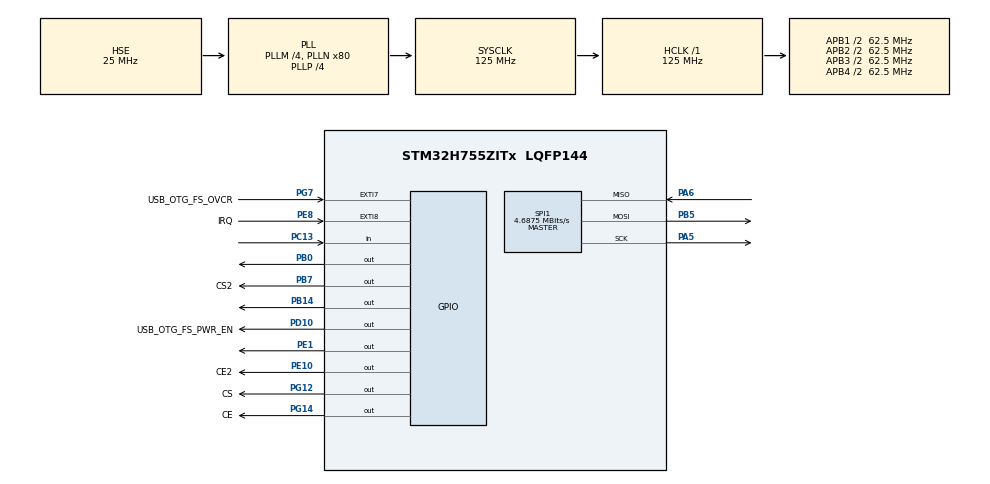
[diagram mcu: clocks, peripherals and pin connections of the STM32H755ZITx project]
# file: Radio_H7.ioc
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CortexM4.IPs=FATFS_M4\:I,FREERTOS_M4\:I,IWDG2\:I,RCC,WWDG2\:I,DMA,BDMA,MDMA,NVIC2\:I,ETH,USART3,DEBUG,PDM2PCM_M4\:I,PWR,RESMGR_UTILITY,SYS_M4\:I,USB_DEVICE_M4\:I,USB_HOST_M4\:I,CORTEX_M4\:I,GPIO,OPENAMP_M4\:I,VREFBUF,NUCLEO-H755ZI-Q
CortexM7.IPs=FATFS_M7\:I,FREERTOS_M7\:I,IWDG1\:I,RCC\:I,WWDG1\:I,DMA\:I,BDMA\:I,MDMA\:I,NVIC1\:I,ETH\:I,USART3\:I,USB_OTG_FS\:I,SYS\:I,CORTEX_M7\:I,DEBUG\:I,PDM2PCM_M7\:I,PWR\:I,RESMGR_UTILITY\:I,USB_DEVICE_M7\:I,USB_HOST_M7\:I,GPIO\:I,OPENAMP_M7\:I,VREFBUF\:I,NUCLEO-H755ZI-Q\:I,MEMORYMAP\:I,SPI1\:I
CortexM7.Pins=PE8,PE10,PG12,PG14,PB7
Dma.Request0=SPI1_RX
Dma.Request1=SPI1_TX
Dma.SPI1_RX.0.Direction=DMA_PERIPH_TO_MEMORY
Dma.SPI1_RX.0.EventEnable=DISABLE
Dma.SPI1_RX.0.FIFOMode=DMA_FIFOMODE_DISABLE
Dma.SPI1_RX.0.Instance=DMA1_Stream0
Dma.SPI1_RX.0.MemDataAlignment=DMA_MDATAALIGN_BYTE
Dma.SPI1_RX.0.MemInc=DMA_MINC_ENABLE
Dma.SPI1_RX.0.Mode=DMA_NORMAL
Dma.SPI1_RX.0.PeriphDataAlignment=DMA_PDATAALIGN_BYTE
Dma.SPI1_RX.0.PeriphInc=DMA_PINC_DISABLE
Dma.SPI1_RX.0.Polarity=HAL_DMAMUX_REQ_GEN_RISING
Dma.SPI1_RX.0.Priority=DMA_PRIORITY_HIGH
Dma.SPI1_RX.0.RequestNumber=1
Dma.SPI1_RX.0.SignalID=NONE
Dma.SPI1_RX.0.SyncEnable=DISABLE
Dma.SPI1_RX.0.SyncPolarity=HAL_DMAMUX_SYNC_NO_EVENT
Dma.SPI1_RX.0.SyncRequestNumber=1
Dma.SPI1_RX.0.SyncSignalID=NONE
Dma.SPI1_TX.1.Direction=DMA_MEMORY_TO_PERIPH
Dma.SPI1_TX.1.EventEnable=DISABLE
Dma.SPI1_TX.1.FIFOMode=DMA_FIFOMODE_DISABLE
Dma.SPI1_TX.1.Instance=DMA1_Stream1
Dma.SPI1_TX.1.MemDataAlignment=DMA_MDATAALIGN_BYTE
Dma.SPI1_TX.1.MemInc=DMA_MINC_ENABLE
Dma.SPI1_TX.1.Mode=DMA_NORMAL
Dma.SPI1_TX.1.PeriphDataAlignment=DMA_PDATAALIGN_BYTE
Dma.SPI1_TX.1.PeriphInc=DMA_PINC_DISABLE
Dma.SPI1_TX.1.Polarity=HAL_DMAMUX_REQ_GEN_RISING
Dma.SPI1_TX.1.Priority=DMA_PRIORITY_HIGH
Dma.SPI1_TX.1.RequestNumber=1
Dma.SPI1_TX.1.SignalID=NONE
Dma.SPI1_TX.1.SyncEnable=DISABLE
Dma.SPI1_TX.1.SyncPolarity=HAL_DMAMUX_SYNC_NO_EVENT
Dma.SPI1_TX.1.SyncRequestNumber=1
Dma.SPI1_TX.1.SyncSignalID=NONE
Mcu.Family=STM32H7
Mcu.Name=STM32H755ZITx
Mcu.Package=LQFP144
NUCLEO-H755ZI-Q.BUTTON=1
NUCLEO-H755ZI-Q.LD1=true
NUCLEO-H755ZI-Q.LD2=true
NUCLEO-H755ZI-Q.LD3=true
NUCLEO-H755ZI-Q.VCP=true
NVIC1.DMA1_Stream0_IRQn=true\:0\:0\:false\:false\:true\:false\:true\:true
NVIC1.DMA1_Stream1_IRQn=true\:0\:0\:false\:false\:true\:false\:true\:true
NVIC1.EXTI15_10_IRQn=true\:1\:0\:true\:false\:true\:false\:true\:true
NVIC1.EXTI9_5_IRQn=true\:1\:0\:true\:false\:true\:true\:true\:true
NVIC1.PriorityGroup=NVIC_PRIORITYGROUP_4
NVIC1.SPI1_IRQn=true\:1\:0\:true\:false\:true\:false\:true\:true
NVIC2.PriorityGroup=NVIC_PRIORITYGROUP_4
PA11.PinAttribute=CortexM7
PA11.Signal=USB_OTG_FS_DM
PA12.PinAttribute=CortexM7
PA12.Signal=USB_OTG_FS_DP
PA5.Mode=Full_Duplex_Master
PA5.PinAttribute=CortexM7
PA5.Signal=SPI1_SCK
PA6.Mode=Full_Duplex_Master
PA6.PinAttribute=CortexM7
PA6.Signal=SPI1_MISO
PA8.PinAttribute=CortexM7
PA8.Signal=USB_OTG_FS_SOF
PA9.PinAttribute=CortexM7
PA9.Signal=USB_OTG_FS_VBUS
PB0.Signal=GPIO_Output
PB13.Signal=S_CKIN1DFSDM1
PB14.Signal=GPIO_Output
PB5.Mode=Full_Duplex_Master
PB5.PinAttribute=CortexM7
PB5.Signal=SPI1_MOSI
PB7.GPIO_Label=CS2
PB7.GPIO_PuPd=GPIO_PULLUP
PB7.PinAttribute=CortexM7
PB7.PinState=GPIO_PIN_SET
PB7.Signal=GPIO_Output
PC13.Signal=GPIO_Input
PC14-OSC32_IN\ (OSC32_IN).PinAttribute=Free
PC14-OSC32_IN\ (OSC32_IN).Signal=RCC_OSC32_IN
PC15-OSC32_OUT\ (OSC32_OUT).PinAttribute=Free
PC15-OSC32_OUT\ (OSC32_OUT).Signal=RCC_OSC32_OUT
PD10.GPIO_Label=USB_OTG_FS_PWR_EN
PD10.PinAttribute=Free
PD10.Signal=GPIO_Output
PD8.Signal=USART3_TX
PD9.Signal=USART3_RX
PE1.Signal=GPIO_Output
PE10.GPIO_Label=CE2
PE10.GPIO_PuPd=GPIO_PULLDOWN
PE10.PinAttribute=CortexM7
PE10.PinState=GPIO_PIN_RESET
PE10.Signal=GPIO_Output
PE8.GPIO_Label=IRQ
PE8.GPIO_ModeDefaultEXTI=GPIO_MODE_IT_RISING
PE8.GPIO_PuPd=GPIO_PULLUP
PE8.PinAttribute=CortexM7
PE8.Signal=GPXTI8
PG12.GPIO_Label=CS
PG12.GPIO_PuPd=GPIO_PULLUP
PG12.PinAttribute=CortexM7
PG12.PinState=GPIO_PIN_SET
PG12.Signal=GPIO_Output
PG14.GPIO_Label=CE
PG14.GPIO_PuPd=GPIO_PULLDOWN
PG14.PinAttribute=CortexM7
PG14.PinState=GPIO_PIN_RESET
PG14.Signal=GPIO_Output
PG7.GPIO_Label=USB_OTG_FS_OVCR
PG7.PinAttribute=Free
PG7.Signal=GPXTI7
PH0-OSC_IN\ (PH0).Mode=HSE-External-Oscillator
PH0-OSC_IN\ (PH0).PinAttribute=Free
PH0-OSC_IN\ (PH0).Signal=RCC_OSC_IN
PH1-OSC_OUT\ (PH1).Mode=HSE-External-Oscillator
PH1-OSC_OUT\ (PH1).PinAttribute=Free
PH1-OSC_OUT\ (PH1).Signal=RCC_OSC_OUT
ProjectManager.HeapSize=M4-0x200,M7-0x200
ProjectManager.StackSize=M4-0x400,M7-0x400
ProjectManager.TargetToolchain=STM32CubeIDE
RCC.ADCFreq_Value=75000000
RCC.APB1Freq_Value=62500000
RCC.APB2Freq_Value=62500000
RCC.APB3Freq_Value=62500000
RCC.APB4Freq_Value=62500000
RCC.CortexFreq_Value=125000000
RCC.D1PPRE=RCC_APB3_DIV2
RCC.D2PPRE1=RCC_APB1_DIV2
RCC.D2PPRE2=RCC_APB2_DIV2
RCC.D3PPRE=RCC_APB4_DIV2
RCC.DIVM1=4
RCC.DIVM2=20
RCC.DIVN1=80
RCC.DIVN2=120
RCC.DIVP1=4
RCC.DIVQ1=4
RCC.HCLKFreq_Value=125000000
RCC.PLL2FRACN=0
RCC.PLL3FRACN=0
RCC.PLLFRACN=0
RCC.PLLSourceVirtual=RCC_PLLSOURCE_HSE
RCC.SPI123CLockSelection=RCC_SPI123CLKSOURCE_PLL2
RCC.SYSCLKFreq_VALUE=125000000
RCC.SYSCLKSource=RCC_SYSCLKSOURCE_PLLCLK
RCC.SupplySource=PWR_DIRECT_SMPS_SUPPLY
RCC.USBFreq_Value=125000000
SH.S_CKIN1DFSDM1.0=DFSDM1_CKIN1
SPI1.BaudRatePrescaler=SPI_BAUDRATEPRESCALER_16
SPI1.CalculateBaudRate=4.6875 MBits/s
SPI1.DataSize=SPI_DATASIZE_8BIT
SPI1.Direction=SPI_DIRECTION_2LINES
SPI1.Mode=SPI_MODE_MASTER
SPI1.VirtualType=VM_MASTER
VP_MEMORYMAP_VS_MEMORYMAP.Mode=CurAppReg
VP_NUCLEO-H755ZI-Q_VS_BSP_COMMON.Mode=COMMON
VP_SYS_M4_VS_Systick.Mode=SysTick
board=NUCLEO-H755ZI-Q

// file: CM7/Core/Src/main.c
/* USER CODE BEGIN Header */
/**
  ******************************************************************************
  * @file           : main.c
  * @brief          : Main program body
  ******************************************************************************
  * @attention
  *
  * Copyright (c) 2025 STMicroelectronics.
  * All rights reserved.
  *
  * This software is licensed under terms that can be found in the LICENSE file
  * in the root directory of this software component.
  * If no LICENSE file comes with this software, it is provided AS-IS.
  *
  ******************************************************************************
  */
/* USER CODE END Header */
#include "main.h"

/* USER CODE BEGIN Includes */
#include "nrf.h"
/* USER CODE END Includes */

/* USER CODE BEGIN PD */

#ifndef HSEM_ID_0
#define HSEM_ID_0 (0U) /* HW semaphore 0*/
#endif

/* USER CODE END PD */

COM_InitTypeDef BspCOMInit;

SPI_HandleTypeDef hspi1;
DMA_HandleTypeDef hdma_spi1_rx;
DMA_HandleTypeDef hdma_spi1_tx;

void SystemClock_Config(void);
static void MX_GPIO_Init(void);
static void MX_DMA_Init(void);
static void MX_SPI1_Init(void);

/* USER CODE BEGIN 0 */
NRF24 Receptor;
NRF24 Transmissor;
uint8_t Address[] = {1,2,3,4,5};
uint8_t txData[6]={111,4,4,6,1,112};
uint8_t rxData[6] ={0,0,0,0,0,0};
/* USER CODE END 0 */

int main(void)
{

/* USER CODE BEGIN Boot_Mode_Sequence_0 */
  int32_t timeout;
/* USER CODE END Boot_Mode_Sequence_0 */

/* USER CODE BEGIN Boot_Mode_Sequence_1 */
  /* Wait until CPU2 boots and enters in stop mode or timeout*/
  timeout = 0xFFFF;
  while((__HAL_RCC_GET_FLAG(RCC_FLAG_D2CKRDY) != RESET) && (timeout-- > 0));
  if ( timeout < 0 )
  {
  Error_Handler();
  }
/* USER CODE END Boot_Mode_Sequence_1 */
  /* MCU Configuration--------------------------------------------------------*/

  /* Reset of all peripherals, Initializes the Flash interface and the Systick. */
  HAL_Init();

  /* Configure the system clock */
  SystemClock_Config();
/* USER CODE BEGIN Boot_Mode_Sequence_2 */
/* When system initialization is finished, Cortex-M7 will release Cortex-M4 by means of
HSEM notification */
/*HW semaphore Clock enable*/
__HAL_RCC_HSEM_CLK_ENABLE();
/*Take HSEM */
HAL_HSEM_FastTake(HSEM_ID_0);
/*Release HSEM in order to notify the CPU2(CM4)*/
HAL_HSEM_Release(HSEM_ID_0,0);
/* wait until CPU2 wakes up from stop mode */
timeout = 0xFFFF;
while((__HAL_RCC_GET_FLAG(RCC_FLAG_D2CKRDY) == RESET) && (timeout-- > 0));
if ( timeout < 0 )
{
Error_Handler();
}
/* USER CODE END Boot_Mode_Sequence_2 */

  /* Initialize all configured peripherals */
  MX_GPIO_Init();
  MX_DMA_Init();
  MX_SPI1_Init();

  /* Initialize leds */
  BSP_LED_Init(LED_GREEN);
  BSP_LED_Init(LED_YELLOW);
  BSP_LED_Init(LED_RED);

  /* Initialize USER push-button, will be used to trigger an interrupt each time it's pressed.*/
  BSP_PB_Init(BUTTON_USER, BUTTON_MODE_EXTI);

  /* Initialize COM1 port (115200, 8 bits (7-bit data + 1 stop bit), no parity */
  BspCOMInit.BaudRate   = 115200;
  BspCOMInit.WordLength = COM_WORDLENGTH_8B;
  BspCOMInit.StopBits   = COM_STOPBITS_1;
  BspCOMInit.Parity     = COM_PARITY_NONE;
  BspCOMInit.HwFlowCtl  = COM_HWCONTROL_NONE;
  if (BSP_COM_Init(COM1, &BspCOMInit) != BSP_ERROR_NONE)
  {
    Error_Handler();
  }

  /* Infinite loop */
  /* USER CODE BEGIN WHILE */

  	Set_NRF24(&Transmissor, &hspi1, CS2_GPIO_Port, CS2_Pin, CE2_GPIO_Port, CE2_Pin);
    NRF24_Config(&Transmissor);
    Tx_mode(&Transmissor, Address);
    NRF24_WriteRegisterByte(&Transmissor, NRF_REG_RF_CH, 0x02);

  	Set_NRF24(&Receptor, &hspi1, CS_GPIO_Port, CS_Pin, CE_GPIO_Port, CE_Pin);
    NRF24_Config(&Receptor);
    Rx_mode(&Receptor, Address, sizeof(rxData));
    NRF24_WriteRegisterByte(&Receptor, NRF_REG_RF_CH, 0x02);

    NRF_Status ret = NRF_ERROR;
    NRF_Status ret_trans = NRF_ERROR;

  uint8_t config_rx = 0;
  uint8_t EN_AA = 0;
  uint8_t EN_RXADDR = 0;
  uint8_t setupAW = 0;
  uint8_t RF_CH = 0;
  uint8_t RF_Setup = 0;
  uint8_t CD = 0;
  while (1)
  {

	  config_rx = NRF24_ReadRegisterByte(&Transmissor, NRF_REG_CONFIG);
	  EN_AA = NRF24_ReadRegisterByte(&Transmissor, NRF_REG_EN_AA);
	  EN_RXADDR = NRF24_ReadRegisterByte(&Transmissor, NRF_REG_EN_RXADDR);
	  setupAW = NRF24_ReadRegisterByte(&Transmissor, NRF_REG_SETUP_AW);
	  RF_CH = NRF24_ReadRegisterByte(&Transmissor, NRF_REG_RF_CH);
	  RF_Setup = NRF24_ReadRegisterByte(&Transmissor, NRF_REG_RF_SETUP);

	  ret_trans = NRF24_TransmitAndWait(&Transmissor, txData, sizeof(txData));
	  //if(ret_trans == NRF_OK){
		 // HAL_GPIO_TogglePin(LED2_GPIO_PORT, LED2_PIN);
	  //} else {
		  //HAL_GPIO_TogglePin(LED1_GPIO_PORT, LED1_PIN);
	  //}
	  //HAL_Delay(50);

	  /*
	  ret = ReceiveData(&Receptor, &rxData, sizeof(rxData));
	  if(ret == NRF_OK){
		  HAL_GPIO_TogglePin(LED1_GPIO_PORT, LED1_PIN);
	  }
	  HAL_GPIO_TogglePin(LED2_GPIO_PORT, LED2_PIN);
	*/
	  HAL_Delay(500);

    /* USER CODE END WHILE */

  }
}

void SystemClock_Config(void)
{
  RCC_OscInitTypeDef RCC_OscInitStruct = {0};
  RCC_ClkInitTypeDef RCC_ClkInitStruct = {0};

  /** Supply configuration update enable
  */
  HAL_PWREx_ConfigSupply(PWR_DIRECT_SMPS_SUPPLY);

  /** Configure the main internal regulator output voltage
  */
  __HAL_PWR_VOLTAGESCALING_CONFIG(PWR_REGULATOR_VOLTAGE_SCALE3);

  while(!__HAL_PWR_GET_FLAG(PWR_FLAG_VOSRDY)) {}

  /** Initializes the RCC Oscillators according to the specified parameters
  * in the RCC_OscInitTypeDef structure.
  */
  RCC_OscInitStruct.OscillatorType = RCC_OSCILLATORTYPE_HSE;
  RCC_OscInitStruct.HSEState = RCC_HSE_ON;
  RCC_OscInitStruct.PLL.PLLState = RCC_PLL_ON;
  RCC_OscInitStruct.PLL.PLLSource = RCC_PLLSOURCE_HSE;
  RCC_OscInitStruct.PLL.PLLM = 4;
  RCC_OscInitStruct.PLL.PLLN = 80;
  RCC_OscInitStruct.PLL.PLLP = 4;
  RCC_OscInitStruct.PLL.PLLQ = 4;
  RCC_OscInitStruct.PLL.PLLR = 2;
  RCC_OscInitStruct.PLL.PLLRGE = RCC_PLL1VCIRANGE_2;
  RCC_OscInitStruct.PLL.PLLVCOSEL = RCC_PLL1VCOWIDE;
  RCC_OscInitStruct.PLL.PLLFRACN = 0;
  if (HAL_RCC_OscConfig(&RCC_OscInitStruct) != HAL_OK)
  {
    Error_Handler();
  }

  /** Initializes the CPU, AHB and APB buses clocks
  */
  RCC_ClkInitStruct.ClockType = RCC_CLOCKTYPE_HCLK|RCC_CLOCKTYPE_SYSCLK
                              |RCC_CLOCKTYPE_PCLK1|RCC_CLOCKTYPE_PCLK2
                              |RCC_CLOCKTYPE_D3PCLK1|RCC_CLOCKTYPE_D1PCLK1;
  RCC_ClkInitStruct.SYSCLKSource = RCC_SYSCLKSOURCE_PLLCLK;
  RCC_ClkInitStruct.SYSCLKDivider = RCC_SYSCLK_DIV1;
  RCC_ClkInitStruct.AHBCLKDivider = RCC_HCLK_DIV1;
  RCC_ClkInitStruct.APB3CLKDivider = RCC_APB3_DIV2;
  RCC_ClkInitStruct.APB1CLKDivider = RCC_APB1_DIV2;
  RCC_ClkInitStruct.APB2CLKDivider = RCC_APB2_DIV2;
  RCC_ClkInitStruct.APB4CLKDivider = RCC_APB4_DIV2;

  if (HAL_RCC_ClockConfig(&RCC_ClkInitStruct, FLASH_LATENCY_2) != HAL_OK)
  {
    Error_Handler();
  }
}

static void MX_SPI1_Init(void)
{

  /* SPI1 parameter configuration*/
  hspi1.Instance = SPI1;
  hspi1.Init.Mode = SPI_MODE_MASTER;
  hspi1.Init.Direction = SPI_DIRECTION_2LINES;
  hspi1.Init.DataSize = SPI_DATASIZE_8BIT;
  hspi1.Init.CLKPolarity = SPI_POLARITY_LOW;
  hspi1.Init.CLKPhase = SPI_PHASE_1EDGE;
  hspi1.Init.NSS = SPI_NSS_SOFT;
  hspi1.Init.BaudRatePrescaler = SPI_BAUDRATEPRESCALER_16;
  hspi1.Init.FirstBit = SPI_FIRSTBIT_MSB;
  hspi1.Init.TIMode = SPI_TIMODE_DISABLE;
  hspi1.Init.CRCCalculation = SPI_CRCCALCULATION_DISABLE;
  hspi1.Init.CRCPolynomial = 0x0;
  hspi1.Init.NSSPMode = SPI_NSS_PULSE_ENABLE;
  hspi1.Init.NSSPolarity = SPI_NSS_POLARITY_LOW;
  hspi1.Init.FifoThreshold = SPI_FIFO_THRESHOLD_01DATA;
  hspi1.Init.TxCRCInitializationPattern = SPI_CRC_INITIALIZATION_ALL_ZERO_PATTERN;
  hspi1.Init.RxCRCInitializationPattern = SPI_CRC_INITIALIZATION_ALL_ZERO_PATTERN;
  hspi1.Init.MasterSSIdleness = SPI_MASTER_SS_IDLENESS_00CYCLE;
  hspi1.Init.MasterInterDataIdleness = SPI_MASTER_INTERDATA_IDLENESS_00CYCLE;
  hspi1.Init.MasterReceiverAutoSusp = SPI_MASTER_RX_AUTOSUSP_DISABLE;
  hspi1.Init.MasterKeepIOState = SPI_MASTER_KEEP_IO_STATE_DISABLE;
  hspi1.Init.IOSwap = SPI_IO_SWAP_DISABLE;
  if (HAL_SPI_Init(&hspi1) != HAL_OK)
  {
    Error_Handler();
  }

}

static void MX_DMA_Init(void)
{

  /* DMA controller clock enable */
  __HAL_RCC_DMA1_CLK_ENABLE();

  /* DMA interrupt init */
  /* DMA1_Stream0_IRQn interrupt configuration */
  HAL_NVIC_SetPriority(DMA1_Stream0_IRQn, 0, 0);
  HAL_NVIC_EnableIRQ(DMA1_Stream0_IRQn);
  /* DMA1_Stream1_IRQn interrupt configuration */
  HAL_NVIC_SetPriority(DMA1_Stream1_IRQn, 0, 0);
  HAL_NVIC_EnableIRQ(DMA1_Stream1_IRQn);

}

static void MX_GPIO_Init(void)
{
  GPIO_InitTypeDef GPIO_InitStruct = {0};

  /* GPIO Ports Clock Enable */
  __HAL_RCC_GPIOA_CLK_ENABLE();
  __HAL_RCC_GPIOE_CLK_ENABLE();
  __HAL_RCC_GPIOG_CLK_ENABLE();
  __HAL_RCC_GPIOB_CLK_ENABLE();

  /*Configure GPIO pin Output Level */
  HAL_GPIO_WritePin(CE2_GPIO_Port, CE2_Pin, GPIO_PIN_RESET);

  /*Configure GPIO pin Output Level */
  HAL_GPIO_WritePin(CS_GPIO_Port, CS_Pin, GPIO_PIN_SET);

  /*Configure GPIO pin Output Level */
  HAL_GPIO_WritePin(CE_GPIO_Port, CE_Pin, GPIO_PIN_RESET);

  /*Configure GPIO pin Output Level */
  HAL_GPIO_WritePin(CS2_GPIO_Port, CS2_Pin, GPIO_PIN_SET);

  /*Configure GPIO pin : IRQ_Pin */
  GPIO_InitStruct.Pin = IRQ_Pin;
  GPIO_InitStruct.Mode = GPIO_MODE_IT_RISING;
  GPIO_InitStruct.Pull = GPIO_PULLUP;
  HAL_GPIO_Init(IRQ_GPIO_Port, &GPIO_InitStruct);

  /*Configure GPIO pin : CE2_Pin */
  GPIO_InitStruct.Pin = CE2_Pin;
  GPIO_InitStruct.Mode = GPIO_MODE_OUTPUT_PP;
  GPIO_InitStruct.Pull = GPIO_PULLDOWN;
  GPIO_InitStruct.Speed = GPIO_SPEED_FREQ_LOW;
  HAL_GPIO_Init(CE2_GPIO_Port, &GPIO_InitStruct);

  /*Configure GPIO pins : PA8 PA11 PA12 */
  GPIO_InitStruct.Pin = GPIO_PIN_8|GPIO_PIN_11|GPIO_PIN_12;
  GPIO_InitStruct.Mode = GPIO_MODE_AF_PP;
  GPIO_InitStruct.Pull = GPIO_NOPULL;
  GPIO_InitStruct.Speed = GPIO_SPEED_FREQ_LOW;
  GPIO_InitStruct.Alternate = GPIO_AF10_OTG1_FS;
  HAL_GPIO_Init(GPIOA, &GPIO_InitStruct);

  /*Configure GPIO pin : CS_Pin */
  GPIO_InitStruct.Pin = CS_Pin;
  GPIO_InitStruct.Mode = GPIO_MODE_OUTPUT_PP;
  GPIO_InitStruct.Pull = GPIO_PULLUP;
  GPIO_InitStruct.Speed = GPIO_SPEED_FREQ_LOW;
  HAL_GPIO_Init(CS_GPIO_Port, &GPIO_InitStruct);

  /*Configure GPIO pin : CE_Pin */
  GPIO_InitStruct.Pin = CE_Pin;
  GPIO_InitStruct.Mode = GPIO_MODE_OUTPUT_PP;
  GPIO_InitStruct.Pull = GPIO_PULLDOWN;
  GPIO_InitStruct.Speed = GPIO_SPEED_FREQ_LOW;
  HAL_GPIO_Init(CE_GPIO_Port, &GPIO_InitStruct);

  /*Configure GPIO pin : CS2_Pin */
  GPIO_InitStruct.Pin = CS2_Pin;
  GPIO_InitStruct.Mode = GPIO_MODE_OUTPUT_PP;
  GPIO_InitStruct.Pull = GPIO_PULLUP;
  GPIO_InitStruct.Speed = GPIO_SPEED_FREQ_LOW;
  HAL_GPIO_Init(CS2_GPIO_Port, &GPIO_InitStruct);

  /* EXTI interrupt init*/
  HAL_NVIC_SetPriority(IRQ_EXTI_IRQn, 1, 0);
  HAL_NVIC_EnableIRQ(IRQ_EXTI_IRQn);

}

/* USER CODE BEGIN 4 */

void HAL_GPIO_EXTI_Callback(uint16_t GPIO_Pin){
	if(GPIO_Pin == IRQ_Pin){
		//HAL_Delay(5);
		ReceiveData_DMA (&Receptor);
		HAL_GPIO_TogglePin(LED1_GPIO_PORT, LED1_PIN);
	}
}

/* USER CODE END 4 */

void Error_Handler(void)
{
  __disable_irq();
  while (1)
  {
  }
}
